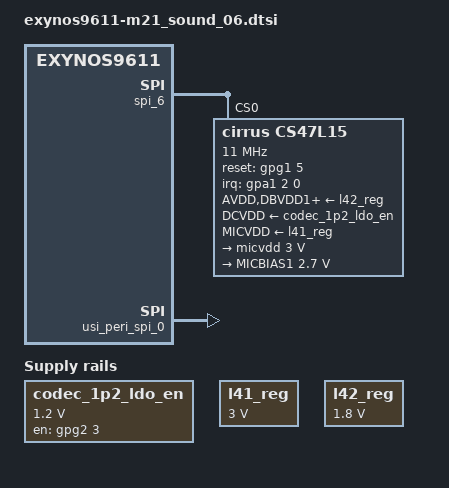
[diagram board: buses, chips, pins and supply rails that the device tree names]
/*
 * SAMSUNG EXYNOS9610 M21 soundcard device tree source
 *
 * Copyright (c) 2018 Samsung Electronics Co., Ltd.
 *		http://www.samsung.com
 *
 * This program is free software; you can redistribute it and/or modify
 * it under the terms of the GNU General Public License version 2 as
 * published by the Free Software Foundation.
 */

/ {
	fragment@sound {
		target-path = "/";
		__overlay__ {

			codec_1p2_ldo_en: codec_1p2_ldo_en {
				compatible = "regulator-fixed";
				regulator-name = "codec_1p2_ldo_en";
				regulator-min-microvolt = <1200000>;
				regulator-max-microvolt = <1200000>;
				gpio = <&gpg2 3 0>;
				enable-active-high;
				startup-delay-us = <1000>;
			};

			/delete-node/ sound;
			sound {
				status = "okay";
				compatible = "samsung,exynos9610-audio-cs47l15";

				#address-cells = <1>;
				#size-cells = <0>;
				clock-names = "xclkout";
				clocks = <&clock OSC_AUD>;
				pinctrl-names = "default";
				pinctrl-0 = <&xclkout0>;

				cirrus,sysclk = <1 4 98304000>;
				cirrus,asyncclk = <2 5 98304000>;
				cirrus,dspclk = <8 4 147456000>;
				cirrus,outclk = <9 1 0>;
				cirrus,fll1-refclk = <1 0 26000000>;
				cirrus,fll2-refclk = <2 8 26000000>;

				samsung,routing = "HEADSETMIC", "MICBIAS1A",
						"MAINMIC", "MICBIAS1B",
						"SUBMIC", "MICBIAS1C",
						"IN1BL", "HEADSETMIC",
						"IN1AL", "MAINMIC",
						"IN1AR", "SUBMIC",
						"RECEIVER", "EPOUTP",
						"RECEIVER", "EPOUTN",
						"HEADPHONE", "HPOUTL",
						"HEADPHONE", "HPOUTR",
						"VOUTPUT", "ABOX UAIF0 Playback",
						"SPEAKER", "ABOX UAIF2 Playback",
						"VOUTPUTCALL", "ABOX SIFS0 Playback",
						"BLUETOOTH SPK", "ABOX SIFS2 Playback",
						"ABOX SPDY Capture", "FM IN",
						"ABOX SIFS2 Capture", "BLUETOOTH MIC",
						"ABOX SIFS0 Capture", "VINPUTCALL";

				samsung,codec = <&abox &abox_uaif_0 &abox_uaif_1 &abox_uaif_2
					&abox_uaif_4 &abox_dsif &abox_spdy>;
				samsung,prefix = "ABOX", "ABOX", "ABOX", "ABOX",
					"ABOX", "ABOX", "ABOX";
				samsung,aux = <&abox_effect &abox_bt>;

				mixer-paths = "mixer_paths_rc.xml";

				rdma@0 {
					cpu {
						sound-dai = <&abox 0>;
					};
					platform {
						sound-dai = <&abox_rdma_0>;
					};
					codec {
						sound-dai = <&dummy_audio_codec>;
					};
				};
				rdma@1 {
					cpu {
						sound-dai = <&abox 1>;
					};
					platform {
						sound-dai = <&abox_rdma_1>;
					};
					codec {
						sound-dai = <&dummy_audio_codec>;
					};
				};
				rdma@2 {
					cpu {
						sound-dai = <&abox 2>;
					};
					platform {
						sound-dai = <&abox_rdma_2>;
					};
					codec {
						sound-dai = <&dummy_audio_codec>;
					};
				};
				rdma@3 {
					cpu {
						sound-dai = <&abox 3>;
					};
					platform {
						sound-dai = <&abox_rdma_3>;
					};
					codec {
						sound-dai = <&dummy_audio_codec>;
					};
				};
				rdma@4 {
					cpu {
						sound-dai = <&abox 4>;
					};
					platform {
						sound-dai = <&abox_rdma_4>;
					};
					codec {
						sound-dai = <&dummy_audio_codec>;
					};
				};
				rdma@5 {
					cpu {
						sound-dai = <&abox 5>;
					};
					platform {
						sound-dai = <&abox_rdma_5>;
					};
					codec {
						sound-dai = <&dummy_audio_codec>;
					};
				};
				rdma@6 {
					cpu {
						sound-dai = <&abox 6>;
					};
					platform {
						sound-dai = <&abox_rdma_6>;
					};
					codec {
						sound-dai = <&dummy_audio_codec>;
					};
				};
				rdma@7 {
					cpu {
						sound-dai = <&abox 7>;
					};
					platform {
						sound-dai = <&abox_rdma_7>;
					};
					codec {
						sound-dai = <&dummy_audio_codec>;
					};
				};
				wdma@0 {
					cpu {
						sound-dai = <&abox 8>;
					};
					platform {
						sound-dai = <&abox_wdma_0>;
					};
					codec {
						sound-dai = <&dummy_audio_codec>;
					};
				};
				wdma@1 {
					cpu {
						sound-dai = <&abox 9>;
					};
					platform {
						sound-dai = <&abox_wdma_1>;
					};
					codec {
						sound-dai = <&dummy_audio_codec>;
					};
				};
				wdma@2 {
					cpu {
						sound-dai = <&abox 10>;
					};
					platform {
						sound-dai = <&abox_wdma_2>;
					};
					codec {
						sound-dai = <&dummy_audio_codec>;
					};
				};
				wdma@3 {
					cpu {
						sound-dai = <&abox 11>;
					};
					platform {
						sound-dai = <&abox_wdma_3>;
					};
					codec {
						sound-dai = <&dummy_audio_codec>;
					};
				};
				wdma@4 {
					cpu {
						sound-dai = <&abox 12>;
					};
					platform {
						sound-dai = <&abox_wdma_4>;
					};
					codec {
						sound-dai = <&dummy_audio_codec>;
					};
				};
				uaif@0 {
					format = "i2s";
					cpu {
						sound-dai = <&abox_uaif_0>;
					};
					codec {
						sound-dai = <&cs47l15 0>;
					};
				};
				uaif@1 {
					format = "i2s";
					cpu {
						sound-dai = <&abox_uaif_1>;
					};
					codec {
						sound-dai = <&dummy_audio_codec>;
					};
				};
				uaif@2 {
					format = "i2s";
					cpu {
						sound-dai = <&abox_uaif_2>;
					};
					platform {
						sound-dai = <&abox_synchronized_ipc 0>;
					};
					codec {
						sound-dai = <&rt5510_amp 0>;
					};
				};
				uaif@4 {
					format = "i2s";
					bitclock-master;
					frame-master;
					cpu {
						sound-dai = <&abox_uaif_4>;
					};
					codec {
						sound-dai = <&dummy_audio_codec>;
					};
				};
				dsif@0 {
					format = "pdm";
					cpu {
						sound-dai = <&abox_dsif>;
					};
					codec {
						sound-dai = <&dummy_audio_codec>;
					};
				};
				spdy@0 {
					cpu {
						sound-dai = <&abox_spdy>;
					};
					codec {
						sound-dai = <&dummy_audio_codec>;
					};
				};
				sifs0@0 {
					cpu {
						sound-dai = <&abox 13>;
					};
					codec {
						sound-dai = <&dummy_audio_codec>;
					};
				};
				sifs1@0 {
					cpu {
						sound-dai = <&abox 14>;
					};
					codec {
						sound-dai = <&dummy_audio_codec>;
					};
				};
				sifs2@0 {
					cpu {
						sound-dai = <&abox 15>;
					};
					codec {
						sound-dai = <&dummy_audio_codec>;
					};
				};
			};
		};
	};
};

&i2c_6 {
	rt5665@1b {
		status = "disabled";
	};
};


/* USI_PERI_SPI_0 */
&spi_6 {
	#address-cells = <1>;
	#size-cells = <0>;
	status = "okay";
	pinctrl-names = "default";
	pinctrl-0 = <&spi6_bus &spi6_cs_func>;

	dma-mode;
	dmas = <&pdma0 19 &pdma0 18>;

	cs47l15: cs47l15@0 {
		compatible = "cirrus,cs47l15";
		reg = <0x00>;
		spi-max-frequency = <11000000>; /* Cirrus guide */

		interrupts = <2 0 0>;
		interrupt-controller;
		#interrupt-cells = <2>;
		interrupt-parent = <&gpa1>;
		gpio-controller;
		#gpio-cells = <2>;
		#sound-dai-cells = <1>;

		AVDD-supply = <&l42_reg>; /* vdd_ldo42 regulator_1v8 */
		DCVDD-supply = <&codec_1p2_ldo_en>; /* BUCK9 b9_reg vdd_mldo */
		DBVDD1-supply = <&l42_reg>; /* vdd_ldo42 regulator_1v8 */
		CPVDD1-supply = <&l42_reg>; /* vdd_ldo42 regulator_1v8 */
		MICVDD-supply = <&l41_reg>; /* vdd_ldo41 regulator_3v0 */

		reset-gpios = <&gpg1 5 0>;

		cirrus,dmic-ref = <1 2>;
		cirrus,inmode = < /* 0: diff 1: single 2: dmic */
			0 0 0 0	/* IN1 */
			0 0 0 0	/* IN2 */
		>;

		cirrus,gpsw = <1 0>;

		pinctrl-names = "default", "active";
		pinctrl-0 = <&codec_reset &codec_irq>;
		pinctrl-1 = <&cs47l15_defaults &codec_reset>;

		madera_pinctrl: madera-pinctrl {
			compatible = "cirrus,madera-pinctrl";

			cs47l15_defaults: cs47l15-gpio-defaults {
				aif1 {
					groups = "aif1";
					function = "aif1";
					bias-bus-hold;
				};
			};
		};

		micvdd {
			regulator-min-microvolt = <3000000>;
			regulator-max-microvolt = <3000000>;
		};

		MICBIAS1 {
			regulator-min-microvolt = <2700000>;
			regulator-max-microvolt = <2700000>;
			cirrus,ext-cap = <1>;
		};
		MICBIAS1A {
			regulator-active-discharge = <1>;
		};
		MICBIAS1B {
			regulator-active-discharge = <1>;
		};
		MICBIAS1C {
			regulator-active-discharge = <1>;
		};

		cirrus,accdet {
			#address-cells = <1>;
			#size-cells = <0>;

			acc@1 {
				reg = <1>;

				cirrus,jd-wake-time = <5000>;

				cirrus,micd-force-micbias;
				cirrus,micd-software-compare;
				cirrus,micd-bias-start-time = <1>;
				cirrus,micd-rate = <7>;
				cirrus,micd-detect-debounce-ms = <1000>;
				cirrus,micd-timeout-ms = <3000>;
				cirrus,micd-configs = <1 0 0 0 0>;
				cirrus,micd-ranges = <
					116 226
					173 582
					321 115
					752 114
					1257 217
				>;

				cirrus,moisture-pin = <6>;
				cirrus,moisture-imp = <2000>;
				cirrus,moisture-debounce = <100>;

				cirrus,hpdet-short-circuit-imp = <2>;
				cirrus,hpdet-ext-res = <820>;

				cirrus,hs-mic = <1>;
				cirrus,init-delay-ms = <30>;

				cirrus,micd-open-circuit-declare = <1>;
			};
		};

		controller-data {
			samsung,spi-feedback-delay = <1>;
			samsung,spi-chip-select-mode = <0>;
		};
	};
};

/* USI_PERI_SPI_0 */
&usi_peri_spi_0 {
        usi_v2_mode = "spi";
        status = "okay";
};

&pinctrl_4 {
	/delete-node/ codec_reset;
	codec_reset: codec-reset {
		samsung,pins ="gpg1-5";
		samsung,pin-function = <1>;
		samsung,pin-pud = <3>;
		samsung,pin-con-pdn =<1>;
		samsung,pin-pud-pdn = <3>;
		samsung,pin-val = <1>;
	};
};

&l41_reg {
	regulator-name = "vdd_ldo41";
	regulator-min-microvolt = <3000000>;
	regulator-max-microvolt = <3000000>;
	regulator-ramp-delay = <12000>;
	regulator-initial-mode = <3>;
	regulator-boot-on;
	regulator-always-on;
};

&l42_reg {
	regulator-name = "regulator_1v8";
	regulator-min-microvolt = <1800000>;
	regulator-max-microvolt = <1800000>;
	regulator-ramp-delay = <12000>;
	regulator-initial-mode = <3>;
	regulator-boot-on;
	regulator-always-on;
};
